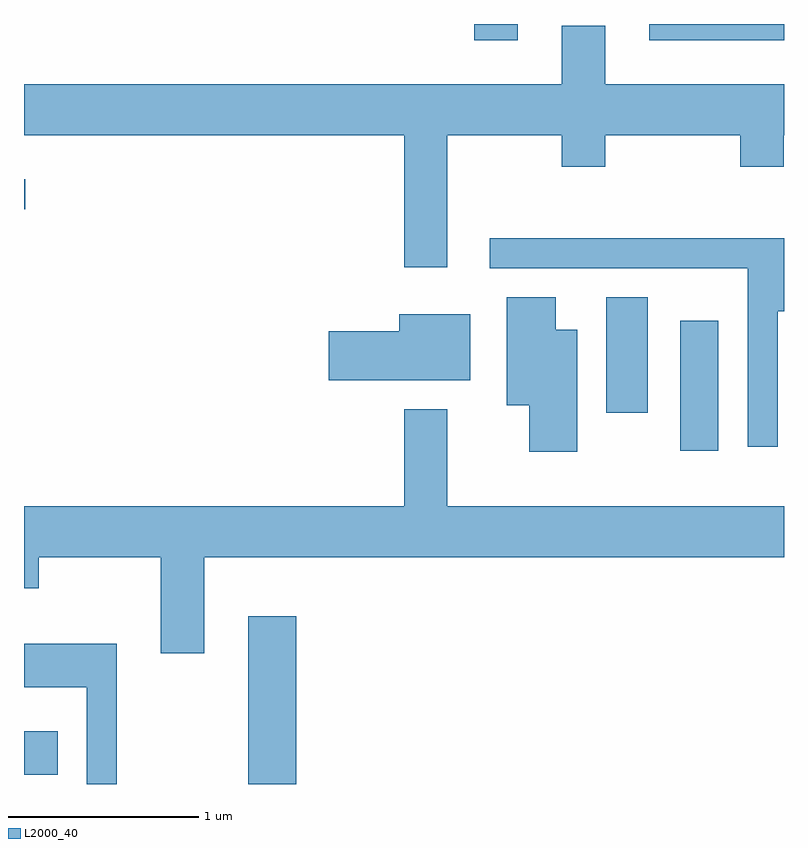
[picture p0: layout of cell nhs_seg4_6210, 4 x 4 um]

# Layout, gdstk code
import gdstk
lib = gdstk.Library(unit=1e-6, precision=1e-09)
def R(c, l, rs):  # rectangles x0, y0, x1, y1
    for r in rs: c.add(gdstk.rectangle(r[:2], r[2:], *l))
def P(c, l, *ps):  # polygons
    for p in ps: c.add(gdstk.Polygon(p, *l))
L2000_40 = (2000, 40)

nhs_seg4_6210 = lib.new_cell('nhs_seg4_6210')
R(nhs_seg4_6210, L2000_40, [(368.791,1297.982,369.044,1298.864), (367.611,1298.031,367.789,1298.259), (371.066,1299.736,371.264,1300.419), (370.676,1299.936,370.894,1300.544), (367.611,1301.006,367.618,1301.164), (369.981,1301.896,370.209,1301.982), (370.901,1301.896,371.611,1301.982)])
P(nhs_seg4_6210, L2000_40, [(369.839,1301.396),(370.441,1301.396),(370.441,1301.231),(370.669,1301.231),(370.669,1301.396),(371.381,1301.396),(371.381,1301.231),(371.609,1301.231),(371.609,1301.396),(371.611,1301.396),(371.611,1301.664),(370.669,1301.664),(370.669,1301.974),(370.441,1301.974),(370.441,1301.664),(367.611,1301.664),(367.611,1301.396),(369.611,1301.396),(369.611,1300.701),(369.839,1300.701)],
  [(371.579,1300.471),(371.611,1300.471),(371.611,1300.854),(370.063,1300.854),(370.063,1300.696),(371.421,1300.696),(371.421,1299.758),(371.579,1299.758)],
  [(370.524,1300.374),(370.409,1300.374),(370.409,1300.544),(370.151,1300.544),(370.151,1299.976),(370.271,1299.976),(370.271,1299.731),(370.524,1299.731)],
  [(369.959,1300.454),(369.586,1300.454),(369.586,1300.364),(369.216,1300.364),(369.216,1300.106),(369.959,1300.106)],
  [(368.559,1299.176),(371.611,1299.176),(371.611,1299.444),(369.839,1299.444),(369.839,1299.954),(369.611,1299.954),(369.611,1299.444),(367.611,1299.444),(367.611,1299.011),(367.689,1299.011),(367.689,1299.176),(368.331,1299.176),(368.331,1298.671),(368.559,1298.671)],
  [(368.099,1298.719),(367.611,1298.719),(367.611,1298.491),(367.941,1298.491),(367.941,1297.982),(368.099,1297.982)])

lib.write_gds('nhs_seg4_6210.gds')
